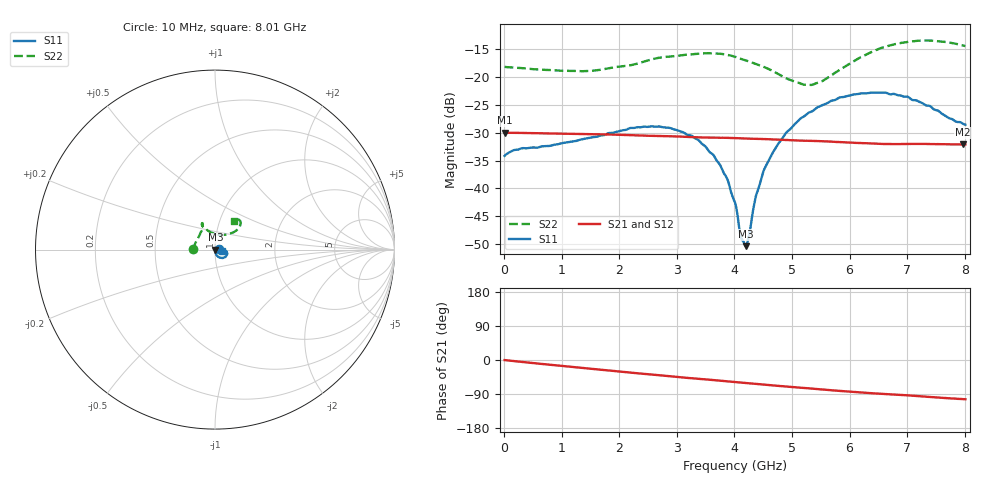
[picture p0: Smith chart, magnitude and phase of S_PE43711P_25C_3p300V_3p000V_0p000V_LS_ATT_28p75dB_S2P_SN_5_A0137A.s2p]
! Device ID: PE43711P
! File Path: z:\PE43711P\CHAR_NOM_04282014\AMB\3p300\LS_ATT_28p75dB\PE43711P_AMB_3p300V_3p000V_0p000V_LS_ATT_28p75dB_S2P_SN_5_A0137A.s2p
! Serial: 5
! Lot: A0137A
! Temp: 25C
! VDD: 3.300
! VSS: 0.000
! Control_Hi: 3.000
! Control_Lo: 0.000
! Attenuation Step: 28.75dB
! Port 1: RF1
! Port 2: RF2
! ThroughPath:1-2
! IDD: 0.0001275693
! ISS: -1.021e-007
#  Hz  S  RI  R  50
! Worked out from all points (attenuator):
!   801 points, 10 MHz to 8.01 GHz, reference 50 ohm
!   highest |S21| = -30.00 dB at 10 MHz (marker M1); lowest = -32.1 dB at 7.96 GHz (marker M2)
!   lowest |S11| = -50.4 dB at 4.2 GHz (marker M3), VSWR 1.01, Z = 50.3 - j0.123 ohm
!   |S11| at or under -10 dB: start of sweep to end of sweep
!   |S22| runs from -21.4 to -13.4 dB; largest |S21 - S12| = 8.6e-05
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1e7  0.0196 0.000558  0.0316 -0.000128  0.0316 -0.000118  -0.1239 0.000947
3.1e8  0.0227 0.00313  0.0314 -0.00276  0.0314 -0.00275  -0.1198 0.0121
1.35e9  0.0266 0.00715  0.0289 -0.0109  0.0289 -0.0109  -0.0969 0.0581
2.2e9  0.0326 0.0125  0.0251 -0.0165  0.0252 -0.0165  -0.0729 0.1052
2.68e9  0.0319 0.0167  0.0227 -0.019  0.0227 -0.019  -0.0684 0.1324
3.25e9  0.0235 0.0183  0.0193 -0.0215  0.0194 -0.0215  -0.068 0.1449
3.49e9  0.0172 0.0167  0.018 -0.0223  0.018 -0.0223  -0.0707 0.1476
3.76e9  0.0102 0.0122  0.0165 -0.0232  0.0165 -0.0232  -0.0732 0.1445
3.88e9  0.0075 0.00938  0.0158 -0.0237  0.0158 -0.0237  -0.0733 0.1404
4.01e9  0.00516 0.00541  0.0149 -0.0241  0.0149 -0.0241  -0.0718 0.1344
4.12e9  0.00335 0.00115  0.0142 -0.0243  0.0142 -0.0243  -0.068 0.1286
4.2e9  0.00277 -0.00123  0.0137 -0.0245  0.0137 -0.0245  -0.0646 0.1253
4.25e9  0.00218 -0.00301  0.0134 -0.0246  0.0134 -0.0246  -0.0622 0.1236
4.38e9  0.00171 -0.00863  0.0126 -0.0249  0.0126 -0.0249  -0.056 0.1185
4.55e9  0.00273 -0.0159  0.0115 -0.0252  0.0115 -0.0252  -0.0468 0.1115
4.9e9  0.00869 -0.0304  0.00931 -0.0256  0.00927 -0.0256  -0.0214 0.0952
5.35e9  0.0242 -0.043  0.00668 -0.0259  0.00671 -0.0259  0.0228 0.0822
5.85e9  0.0478 -0.0455  0.00371 -0.0257  0.00369 -0.0258  0.0791 0.0879
6.68e9  0.0672 -0.0214  -5.36e-05 -0.025  -3.84e-05 -0.025  0.1388 0.1318
7.3e9  0.0565 -0.00436  -0.00284 -0.0249  -0.00281 -0.0249  0.1375 0.1633
7.96e9  0.0381 -0.00491  -0.00566 -0.0242  -0.00569 -0.0242  0.1064 0.1611
8.01e9  0.0368 -0.00648  -0.00585 -0.0241  -0.00592 -0.0241  0.1043 0.1586
